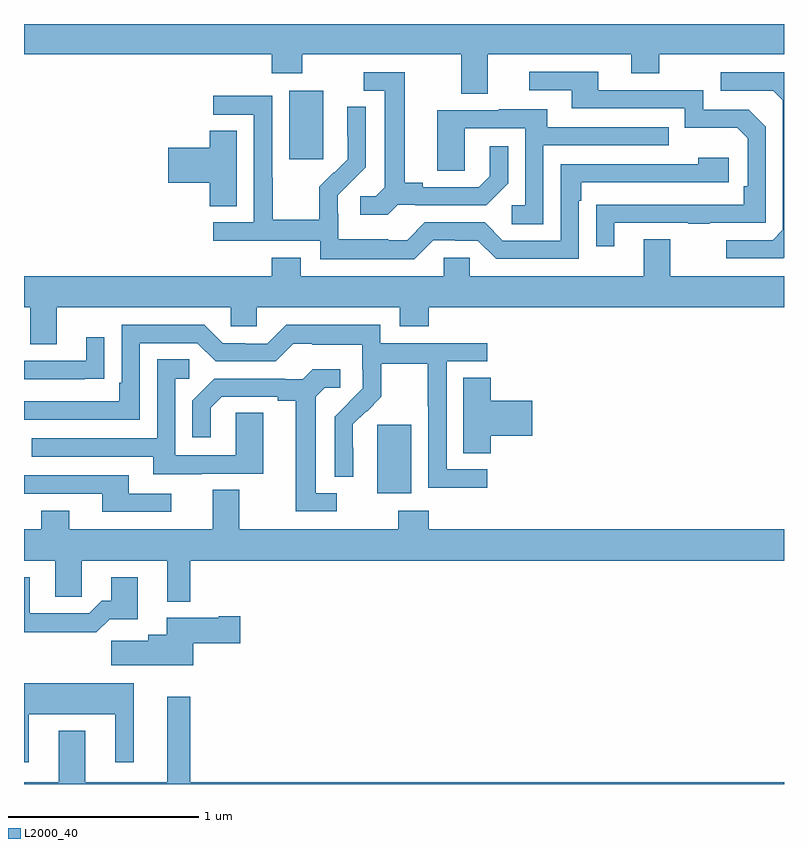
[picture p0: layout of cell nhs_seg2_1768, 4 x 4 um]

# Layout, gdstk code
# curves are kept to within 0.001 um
import gdstk
lib = gdstk.Library(unit=1e-6, precision=1e-09)
def R(c, l, rs):  # rectangles x0, y0, x1, y1
    for r in rs: c.add(gdstk.rectangle(r[:2], r[2:], *l))
def P(c, l, *ps):  # polygons
    for p in ps: c.add(gdstk.Polygon(p, *l))
L2000_40 = (2000, 40)

nhs_seg2_1768 = lib.new_cell('nhs_seg2_1768')
R(nhs_seg2_1768, L2000_40, [(204.86,641.33,205.039,641.691), (204.395,643.089,204.574,643.45)])
P(nhs_seg2_1768, L2000_40, [(205.441,643.64),(206.195,643.64),(206.195,643.541),(206.343,643.541),(206.343,643.64),(207,643.64),(207,643.8),(203,643.8),(203,643.64),(204.305,643.64),(204.305,643.541),(204.465,643.541),(204.465,643.64),(205.301,643.64),(205.301,643.432),(205.441,643.432)],
  [(206.107,642.753),(206.497,642.753),(206.497,642.748),(206.609,642.748),(206.609,642.753),(206.904,642.753),(206.904,643.26),(206.814,643.35),(206.574,643.35),(206.574,643.452),(206.023,643.452),(206.023,643.548),(205.659,643.548),(205.659,643.452),(205.883,643.452),(205.883,643.356),(206.478,643.356),(206.478,643.253),(206.755,643.253),(206.808,643.2),(206.808,642.946),(206.788,642.946),(206.788,642.849),(206.011,642.848),(206.011,642.63),(206.107,642.63)],
  [(207,642.57),(207,643.545),(206.667,643.545),(206.667,643.449),(206.943,643.449),(206.994,643.398),(206.994,642.717),(206.94,642.663),(206.697,642.663),(206.697,642.567),(206.997,642.567)],
  [(204.966,642.849),(205.06,642.849),(205.06,642.846),(205.432,642.846),(205.548,642.962),(205.548,643.156),(205.451,643.156),(205.451,642.999),(205.394,642.942),(205.099,642.942),(205.099,642.965),(205.003,642.965),(205.003,643.545),(204.789,643.545),(204.789,643.449),(204.899,643.449),(204.899,642.941),(204.852,642.894),(204.771,642.894),(204.771,642.797),(204.914,642.797)],
  [(205.155,642.663),(205.271,642.663),(205.271,642.66),(205.389,642.66),(205.485,642.564),(205.92,642.564),(205.92,642.869),(205.933,642.869),(205.933,642.966),(206.71,642.966),(206.71,643.096),(206.549,643.096),(206.549,643.062),(205.824,643.062),(205.824,642.66),(205.521,642.66),(205.425,642.756),(205.11,642.756),(205.017,642.663),(204.917,642.663),(204.917,642.667),(204.654,642.667),(204.654,642.801),(204.652,642.801),(204.652,642.898),(204.798,643.046),(204.798,643.364),(204.702,643.364),(204.702,643.21),(204.704,643.21),(204.704,643.088),(204.633,643.017),(204.63,643.02),(204.553,642.943),(204.553,642.769),(204.309,642.769),(204.309,642.992),(204.306,642.992),(204.306,643.422),(203.997,643.422),(203.997,643.323),(204.21,643.323),(204.21,642.756),(203.997,642.756),(203.997,642.66),(204.558,642.66),(204.558,642.563),(205.055,642.563)],
  [(205.734,643.161),(206.393,643.161),(206.393,643.257),(205.753,643.257),(205.753,643.351),(205.499,643.351),(205.499,643.347),(205.175,643.347),(205.175,643.027),(205.32,643.027),(205.32,643.251),(205.638,643.251),(205.638,642.846),(205.566,642.846),(205.566,642.745),(205.734,642.745)],
  [(204.121,643.238),(203.978,643.238),(203.978,643.148),(203.76,643.148),(203.76,642.965),(203.978,642.965),(203.978,642.841),(204.121,642.841)],
  [(204.457,642.571),(204.305,642.571),(204.305,642.472),(203,642.472),(203,642.308),(203.033,642.308),(203.033,642.114),(203.173,642.114),(203.173,642.308),(204.087,642.308),(204.087,642.21),(204.225,642.21),(204.225,642.308),(204.977,642.308),(204.977,642.209),(205.13,642.209),(205.13,642.308),(207,642.308),(207,642.472),(206.401,642.472),(206.401,642.667),(206.261,642.667),(206.261,642.472),(205.347,642.472),(205.347,642.57),(205.209,642.57),(205.209,642.472),(204.457,642.472)],
  [(205.438,641.457),(205.224,641.457),(205.224,642.024),(205.438,642.024),(205.438,642.12),(204.876,642.12),(204.876,642.217),(204.379,642.217),(204.279,642.117),(204.164,642.117),(204.164,642.12),(204.045,642.12),(203.949,642.216),(203.514,642.216),(203.514,641.911),(203.501,641.911),(203.501,641.814),(203,641.814),(203,641.718),(203.61,641.718),(203.61,642.12),(203.913,642.12),(204.009,642.024),(204.324,642.024),(204.417,642.117),(204.517,642.117),(204.517,642.113),(204.78,642.113),(204.78,641.979),(204.782,641.979),(204.782,641.882),(204.636,641.734),(204.636,641.416),(204.732,641.416),(204.731,641.693),(204.801,641.763),(204.804,641.76),(204.881,641.837),(204.881,642.012),(205.126,642.012),(205.126,641.788),(205.128,641.788),(205.128,641.359),(205.438,641.359)],
  [(203.321,641.932),(203.423,641.932),(203.423,642.151),(203.327,642.151),(203.327,642.027),(203,642.027),(203,641.931),(203.321,641.931)],
  [(203.935,641.433),(204.259,641.433),(204.259,641.753),(204.114,641.753),(204.114,641.529),(203.796,641.529),(203.796,641.934),(203.869,641.934),(203.869,642.035),(203.7,642.035),(203.7,641.619),(203.041,641.619),(203.041,641.523),(203.681,641.523),(203.681,641.429),(203.935,641.429)],
  [(204.646,641.331),(204.535,641.331),(204.535,641.839),(204.582,641.886),(204.664,641.886),(204.664,641.983),(204.52,641.983),(204.468,641.931),(204.374,641.931),(204.374,641.934),(204.002,641.934),(203.886,641.818),(203.886,641.625),(203.983,641.625),(203.983,641.781),(204.04,641.838),(204.335,641.838),(204.335,641.816),(204.431,641.816),(204.431,641.235),(204.646,641.235)],
  [(205.457,641.633),(205.675,641.633),(205.675,641.816),(205.457,641.816),(205.457,641.939),(205.313,641.939),(205.313,641.542),(205.457,641.542)],
  [(203.776,641.328),(203.551,641.328),(203.551,641.424),(203,641.424),(203,641.328),(203.411,641.328),(203.411,641.232),(203.776,641.232)],
  [(203.875,640.976),(207,640.976),(207,641.14),(205.13,641.14),(205.13,641.239),(204.97,641.239),(204.97,641.14),(204.133,641.14),(204.133,641.348),(203.993,641.348),(203.993,641.14),(203.239,641.14),(203.239,641.239),(203.092,641.239),(203.092,641.14),(203,641.14),(203,640.976),(203.165,640.976),(203.165,640.786),(203.304,640.786),(203.304,640.976),(203.753,640.976),(203.753,640.76),(203.875,640.76)],
  [(203.45,640.667),(203.599,640.667),(203.599,640.888),(203.459,640.888),(203.459,640.765),(203.41,640.765),(203.343,640.698),(203.029,640.698),(203.029,640.888),(203,640.888),(203,640.6),(203.125,640.6),(203.125,640.598),(203.381,640.598)],
  [(203.89,640.541),(204.139,640.541),(204.139,640.683),(204.026,640.683),(204.026,640.675),(203.75,640.675),(203.75,640.585),(203.654,640.585),(203.654,640.553),(203.46,640.553),(203.46,640.424),(203.89,640.424)],
  [(203.026,640.166),(203.48,640.166),(203.48,639.915),(203.578,639.915),(203.578,640.33),(203,640.33),(203,639.915),(203.026,639.915)],
  [(207,639.808),(203.875,639.808),(203.875,640.258),(203.753,640.258),(203.753,639.808),(203.323,639.808),(203.323,640.081),(203.183,640.081),(203.183,639.808),(203,639.808),(203,639.8),(207,639.8)])

lib.write_gds('nhs_seg2_1768.gds')
